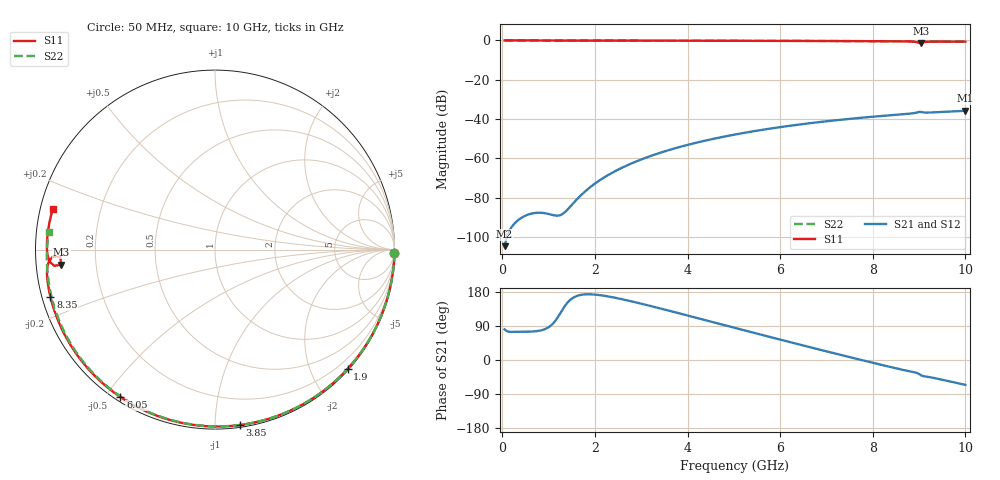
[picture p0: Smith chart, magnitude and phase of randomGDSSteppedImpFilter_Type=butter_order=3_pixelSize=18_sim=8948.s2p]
! freq	dB(S11)	phase(S11)	dB(S12)	phase(S12)
!  dB(S21)	phase(S21)	dB(S22)	phase(S22)
!S-par simulation data
#  GHz  S  DB  R 50
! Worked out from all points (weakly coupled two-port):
!   200 points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, 50 MHz to 10 GHz, reference 50 ohm
!   highest |S21| = -35.81 dB at 10 GHz (marker M1); lowest = -104.8 dB at 50 MHz (marker M2)
!   lowest |S11| = -1.3 dB at 9.05 GHz (marker M3), VSWR 13.42, Z = 3.73 - j2.45 ohm
!   |S11| at or under -10 dB: nowhere
!   |S22| runs from -0.6 to 0.0 dB; largest |S21 - S12| = 0
!   S11 on the Smith chart (normalised r, x): 50 MHz: open; 1.9 GHz: 0.02, -2.61; 3.85 GHz: 0.01, -1.15; 6.05 GHz: 0.02, -0.55; 8.35 GHz: 0.02, -0.14; 10 GHz: 0.04, +0.12
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0.05  -0.00 -1.1  -104.76 80.9  -104.76 80.9  -0.00 -1.0
0.8  -0.02 -18.0  -87.73 77.2  -87.73 77.2  -0.02 -16.2
1.65  -0.05 -36.6  -79.96 170.5  -79.96 170.5  -0.04 -33.1
1.75  -0.05 -38.8  -77.69 172.8  -77.69 172.8  -0.04 -35.1
1.9  -0.05 -42.0  -74.68 173.3  -74.68 173.3  -0.05 -38.0
2.2  -0.06 -48.4  -69.74 169.5  -69.74 169.5  -0.06 -43.9
2.55  -0.07 -55.7  -65.21 161.3  -65.21 161.3  -0.06 -50.6
2.95  -0.08 -64.0  -61.06 150.1  -61.06 150.1  -0.08 -58.2
3.4  -0.10 -73.0  -57.27 136.4  -57.27 136.4  -0.09 -66.6
3.85  -0.11 -81.9  -54.12 122.2  -54.12 122.2  -0.10 -74.9
5.05  -0.16 -104.6  -47.78 83.9  -47.78 83.9  -0.15 -96.3
6.05  -0.21 -122.7  -43.97 52.2  -43.97 52.2  -0.20 -113.7
6.7  -0.26 -134.2  -41.97 32.0  -41.97 32.0  -0.25 -124.9
7.55  -0.33 -149.3  -39.81 6.1  -39.81 6.1  -0.32 -139.7
8.35  -0.41 -163.9  -38.14 -17.6  -38.14 -17.6  -0.40 -154.0
8.8  -0.52 -173.2  -37.27 -30.0  -37.27 -30.0  -0.45 -162.3
8.95  -0.87 -177.5  -36.71 -33.9  -36.71 -33.9  -0.47 -165.1
9  -1.28 -177.4  -36.39 -36.8  -36.39 -36.8  -0.48 -166.1
9.05  -1.30 -174.4  -36.45 -41.0  -36.45 -41.0  -0.48 -167.0
9.15  -0.72 -175.6  -36.75 -43.6  -36.75 -43.6  -0.50 -168.9
9.3  -0.58 -179.5  -36.64 -46.9  -36.64 -46.9  -0.52 -171.9
10  -0.62 165.8  -35.81 -65.6  -35.81 -65.6  -0.62 173.9
